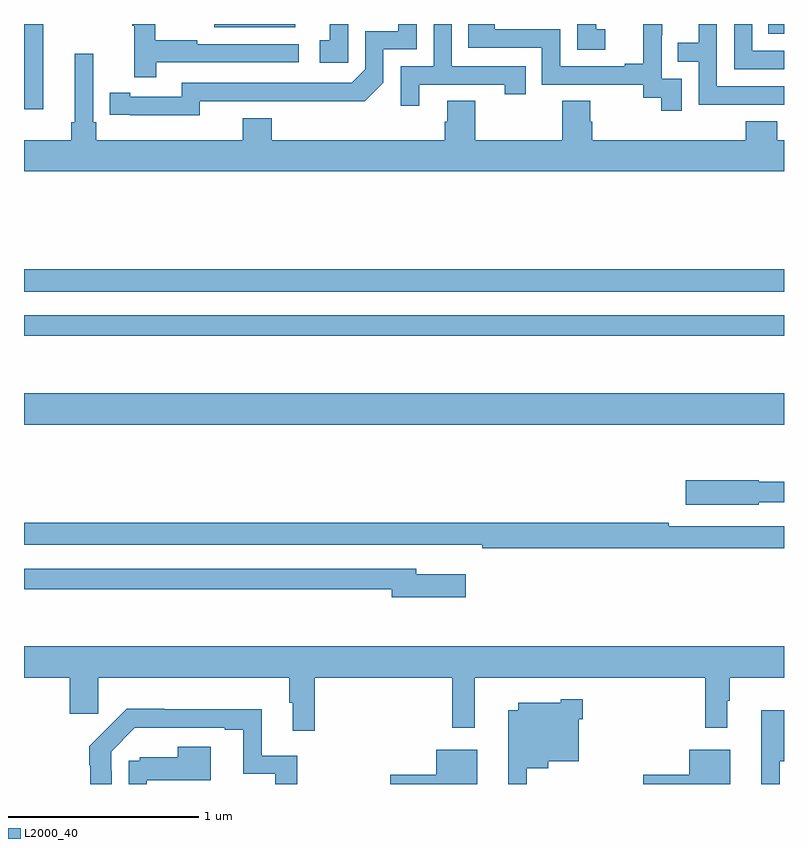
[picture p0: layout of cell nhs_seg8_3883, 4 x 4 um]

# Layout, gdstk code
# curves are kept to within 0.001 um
import gdstk
lib = gdstk.Library(unit=1e-6, precision=1e-09)
def R(c, l, rs):  # rectangles x0, y0, x1, y1
    for r in rs: c.add(gdstk.rectangle(r[:2], r[2:], *l))
def P(c, l, *ps):  # polygons
    for p in ps: c.add(gdstk.Polygon(p, *l))
L2000_40 = (2000, 40)

nhs_seg8_3883 = lib.new_cell('nhs_seg8_3883')
R(nhs_seg8_3883, L2000_40, [(349,1157.792,353,1157.956), (349,1158.258,353,1158.366), (349,1158.492,353,1158.608), (349,1159.452,349.102,1159.9), (352.918,1159.85,353,1159.9), (350.001,1159.883,350.428,1159.9)])
P(nhs_seg8_3883, L2000_40, [(352.461,1159.611),(352.356,1159.611),(352.356,1159.841),(352.358,1159.841),(352.358,1159.9),(352.259,1159.9),(352.259,1159.69),(352.163,1159.69),(352.163,1159.677),(351.822,1159.677),(351.822,1159.872),(351.477,1159.872),(351.477,1159.899),(351.337,1159.899),(351.337,1159.776),(351.726,1159.776),(351.726,1159.581),(352.26,1159.581),(352.26,1159.513),(352.353,1159.513),(352.353,1159.443),(352.461,1159.443)],
  [(353,1159.572),(352.647,1159.572),(352.647,1159.9),(352.551,1159.9),(352.551,1159.802),(352.441,1159.802),(352.441,1159.701),(352.551,1159.701),(352.551,1159.476),(353,1159.476)],
  [(350.706,1159.9),(350.609,1159.9),(350.609,1159.815),(350.556,1159.815),(350.556,1159.695),(350.706,1159.695)],
  [(349.926,1159.494),(350.794,1159.493),(350.892,1159.59),(350.892,1159.767),(351.066,1159.767),(351.066,1159.9),(350.969,1159.9),(350.969,1159.863),(350.796,1159.863),(350.796,1159.662),(350.724,1159.59),(349.83,1159.59),(349.83,1159.518),(349.558,1159.518),(349.558,1159.538),(349.45,1159.538),(349.45,1159.422),(349.926,1159.421)],
  [(353,1159.758),(352.833,1159.758),(352.833,1159.9),(352.737,1159.9),(352.737,1159.662),(353,1159.662)],
  [(351.079,1159.581),(351.53,1159.581),(351.53,1159.53),(351.641,1159.53),(351.641,1159.677),(351.252,1159.677),(351.252,1159.9),(351.156,1159.9),(351.156,1159.677),(350.982,1159.677),(350.982,1159.47),(351.079,1159.47)],
  [(352.06,1159.873),(352.011,1159.873),(352.011,1159.9),(351.912,1159.9),(351.912,1159.764),(352.06,1159.764)],
  [(349.697,1159.698),(350.446,1159.698),(350.446,1159.794),(349.913,1159.794),(349.913,1159.814),(349.69,1159.814),(349.69,1159.9),(349.569,1159.9),(349.569,1159.891),(349.58,1159.891),(349.58,1159.62),(349.697,1159.62)],
  [(353,1159.288),(352.964,1159.288),(352.964,1159.387),(352.799,1159.387),(352.799,1159.288),(351.992,1159.288),(351.992,1159.386),(351.979,1159.386),(351.979,1159.496),(351.832,1159.496),(351.832,1159.288),(351.375,1159.288),(351.375,1159.496),(351.227,1159.496),(351.227,1159.386),(351.215,1159.386),(351.215,1159.288),(350.303,1159.288),(350.303,1159.405),(350.15,1159.405),(350.15,1159.288),(349.379,1159.288),(349.379,1159.384),(349.365,1159.384),(349.365,1159.744),(349.268,1159.744),(349.268,1159.384),(349.249,1159.384),(349.249,1159.288),(349,1159.288),(349,1159.124),(353,1159.124)],
  [(352.866,1157.382),(353,1157.382),(353,1157.491),(352.866,1157.491),(352.866,1157.499),(352.482,1157.499),(352.482,1157.369),(352.866,1157.369)],
  [(353,1157.256),(352.394,1157.256),(352.394,1157.276),(349,1157.276),(349,1157.16),(351.16,1157.16),(351.16,1157.159),(351.412,1157.159),(351.412,1157.14),(353,1157.14)],
  [(351.325,1157.005),(351.064,1157.005),(351.064,1157.034),(349,1157.034),(349,1156.926),(350.936,1156.926),(350.936,1156.883),(351.325,1156.883)],
  [(350.531,1156.46),(351.253,1156.46),(351.253,1156.197),(351.372,1156.197),(351.372,1156.46),(352.585,1156.46),(352.585,1156.197),(352.702,1156.197),(352.702,1156.337),(352.714,1156.337),(352.714,1156.46),(353,1156.46),(353,1156.624),(349,1156.624),(349,1156.46),(349.241,1156.46),(349.241,1156.269),(349.391,1156.269),(349.391,1156.46),(350.395,1156.46),(350.395,1156.328),(350.414,1156.328),(350.414,1156.179),(350.531,1156.179)],
  [(351.645,1155.983),(351.76,1155.983),(351.76,1156.019),(351.919,1156.019),(351.919,1156.241),(351.941,1156.241),(351.941,1156.345),(351.825,1156.345),(351.825,1156.327),(351.602,1156.327),(351.602,1156.288),(351.548,1156.288),(351.548,1155.9),(351.645,1155.9)],
  [(349.461,1155.971),(349.458,1155.971),(349.458,1156.071),(349.584,1156.197),(350.057,1156.197),(350.057,1156.185),(350.153,1156.185),(350.153,1155.954),(350.322,1155.954),(350.322,1155.9),(350.438,1155.9),(350.438,1156.05),(350.251,1156.05),(350.251,1156.294),(349.739,1156.294),(349.739,1156.297),(349.54,1156.297),(349.343,1156.099),(349.343,1155.998),(349.349,1155.998),(349.349,1155.9),(349.461,1155.9)],
  [(352.978,1156.019),(353,1156.019),(353,1156.288),(352.88,1156.288),(352.88,1155.9),(352.978,1155.9)],
  [(349.647,1155.92),(349.984,1155.92),(349.984,1156.096),(349.808,1156.096),(349.808,1156.042),(349.608,1156.042),(349.608,1156.023),(349.551,1156.023),(349.551,1155.9),(349.647,1155.9)],
  [(351.385,1156.081),(351.17,1156.081),(351.17,1155.95),(350.928,1155.95),(350.928,1155.9),(351.385,1155.9)],
  [(352.717,1156.081),(352.502,1156.081),(352.502,1155.95),(352.26,1155.95),(352.26,1155.9),(352.717,1155.9)])

lib.write_gds('nhs_seg8_3883.gds')
